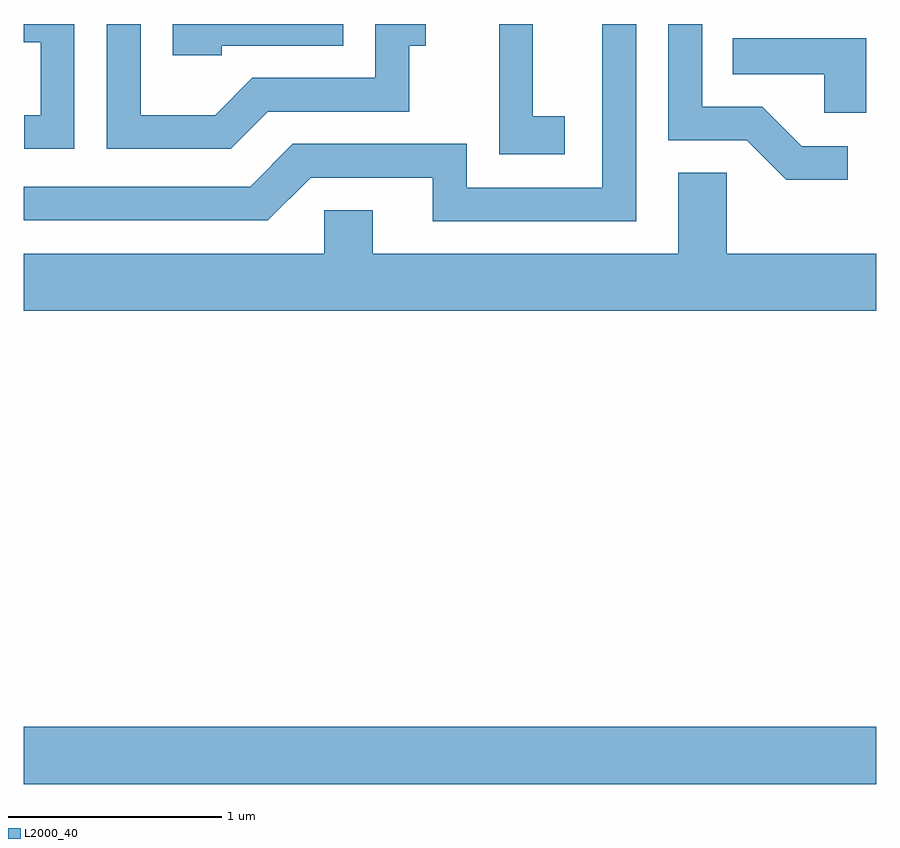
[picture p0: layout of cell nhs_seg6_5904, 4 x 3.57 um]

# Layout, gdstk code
import gdstk
lib = gdstk.Library(unit=1e-6, precision=1e-09)
def R(c, l, rs):  # rectangles x0, y0, x1, y1
    for r in rs: c.add(gdstk.rectangle(r[:2], r[2:], *l))
def P(c, l, *ps):  # polygons
    for p in ps: c.add(gdstk.Polygon(p, *l))
L2000_40 = (2000, 40)

nhs_seg6_5904 = lib.new_cell('nhs_seg6_5904')
R(nhs_seg6_5904, L2000_40, [(363.611,1656.596,367.611,1656.864)])
P(nhs_seg6_5904, L2000_40, [(364.757,1659.751),(365.419,1659.751),(365.419,1660.061),(365.498,1660.061),(365.498,1660.162),(365.261,1660.162),(365.261,1659.909),(364.684,1659.909),(364.509,1659.734),(364.159,1659.734),(364.159,1660.162),(364.001,1660.162),(364.001,1659.576),(364.582,1659.576)],
  [(366.484,1660.162),(366.326,1660.162),(366.326,1659.394),(365.689,1659.394),(365.689,1659.599),(364.874,1659.599),(364.674,1659.399),(363.611,1659.399),(363.611,1659.241),(364.757,1659.241),(364.957,1659.441),(365.531,1659.441),(365.531,1659.236),(366.484,1659.236)],
  [(367.478,1659.589),(367.262,1659.589),(367.077,1659.774),(366.794,1659.774),(366.794,1660.162),(366.636,1660.162),(366.636,1659.616),(367.004,1659.616),(367.189,1659.431),(367.478,1659.431)],
  [(364.539,1660.061),(365.109,1660.061),(365.109,1660.162),(364.311,1660.162),(364.311,1660.016),(364.539,1660.016)],
  [(366.149,1659.729),(365.999,1659.729),(365.999,1660.162),(365.841,1660.162),(365.841,1659.551),(366.149,1659.551)],
  [(363.849,1660.162),(363.611,1660.162),(363.611,1660.076),(363.691,1660.076),(363.691,1659.734),(363.613,1659.734),(363.613,1659.576),(363.849,1659.576)],
  [(367.564,1660.094),(366.938,1660.094),(366.938,1659.926),(367.366,1659.926),(367.366,1659.746),(367.564,1659.746)],
  [(367.611,1659.084),(366.909,1659.084),(366.909,1659.464),(366.681,1659.464),(366.681,1659.084),(365.249,1659.084),(365.249,1659.289),(365.021,1659.289),(365.021,1659.084),(363.611,1659.084),(363.611,1658.816),(367.611,1658.816)])

lib.write_gds('nhs_seg6_5904.gds')
